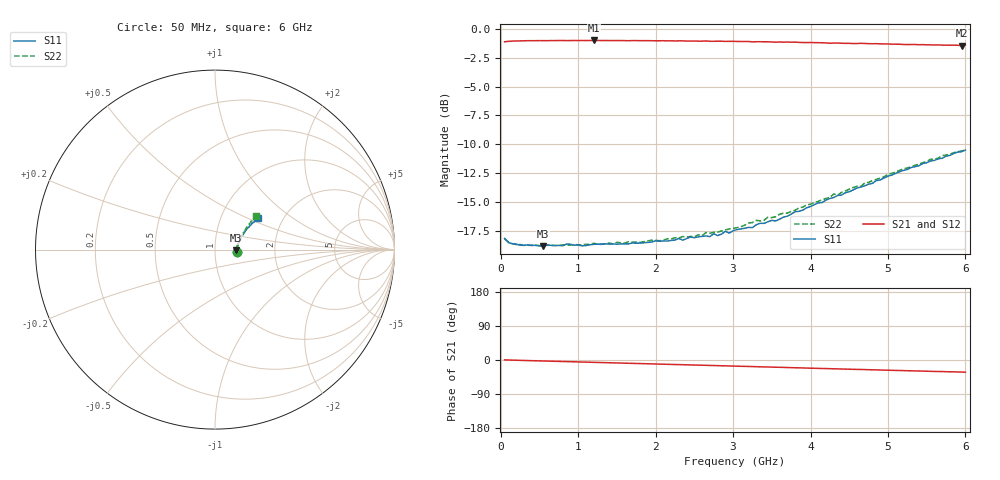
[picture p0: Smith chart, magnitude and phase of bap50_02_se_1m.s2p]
! Created by janssen on Wed Jul 24 13:32:57 METDST 2002
# HZ S MA R 50
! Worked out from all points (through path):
!   120 points, 50 MHz to 6 GHz, reference 50 ohm
!   highest |S21| = -1.01 dB at 1.2 GHz (marker M1); lowest = -1.5 dB at 5.95 GHz (marker M2)
!   group delay of S21, straight-line fit = 15.2 ps
!   lowest |S11| = -18.8 dB at 550 MHz (marker M3), VSWR 1.26, Z = 62.9 - j0.462 ohm
!   |S11| at or under -10 dB: start of sweep to end of sweep
!   |S22| runs from -18.8 to -10.5 dB; largest |S21 - S12| = 0.0083
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5e7  0.1238 -5.6  0.8785 0.4  0.877 0.3  0.1231 -5.2
1e8  0.1187 -4.4  0.882 -0.0  0.8821 -0.0  0.1194 -4.2
1.5e8  0.1173 -3.4  0.8843 -0.4  0.8832 -0.4  0.1175 -3.5
5.5e8  0.1145 -1.8  0.8882 -2.6  0.8889 -2.6  0.1151 -1.6
8.5e8  0.117 -2.3  0.8886 -4.2  0.8894 -4.2  0.1158 -1.6
1.05e9  0.1149 -1.4  0.8895 -5.4  0.889 -5.3  0.116 -1.4
1.2e9  0.1167 -1.6  0.8898 -6.2  0.8886 -6.1  0.1179 -0.7
2.05e9  0.1203 3.5  0.887 -10.8  0.8867 -10.8  0.1209 4.3
2.7e9  0.1259 10.6  0.8827 -14.3  0.8836 -14.3  0.1302 11.4
2.75e9  0.1296 10.9  0.8827 -14.6  0.8838 -14.6  0.1315 12.0
2.8e9  0.1273 11.8  0.8829 -14.9  0.8845 -14.8  0.1317 12.4
2.9e9  0.1328 13.4  0.8816 -15.4  0.8835 -15.4  0.1346 13.8
2.95e9  0.1304 13.0  0.8817 -15.7  0.8821 -15.6  0.1359 14.9
3.05e9  0.1352 14.4  0.8812 -16.3  0.8819 -16.2  0.1377 15.1
3.25e9  0.1378 16.7  0.8776 -17.3  0.8807 -17.3  0.1449 18.7
3.3e9  0.1418 18.1  0.8786 -17.7  0.8794 -17.5  0.1482 19.4
3.55e9  0.1472 20.9  0.8748 -19.1  0.8767 -19.0  0.1536 22.8
4.05e9  0.1732 27.6  0.8708 -21.8  0.8721 -21.6  0.1772 29.2
5.05e9  0.2327 34.3  0.8574 -27.2  0.8612 -27.1  0.2366 36.2
5.55e9  0.2677 35.5  0.8515 -29.9  0.8571 -29.8  0.2723 38.3
5.95e9  0.2935 35.2  0.8457 -31.8  0.854 -31.8  0.2959 39.1
6e9  0.2984 35.7  0.8488 -32.1  0.8531 -32.1  0.2986 39.4
